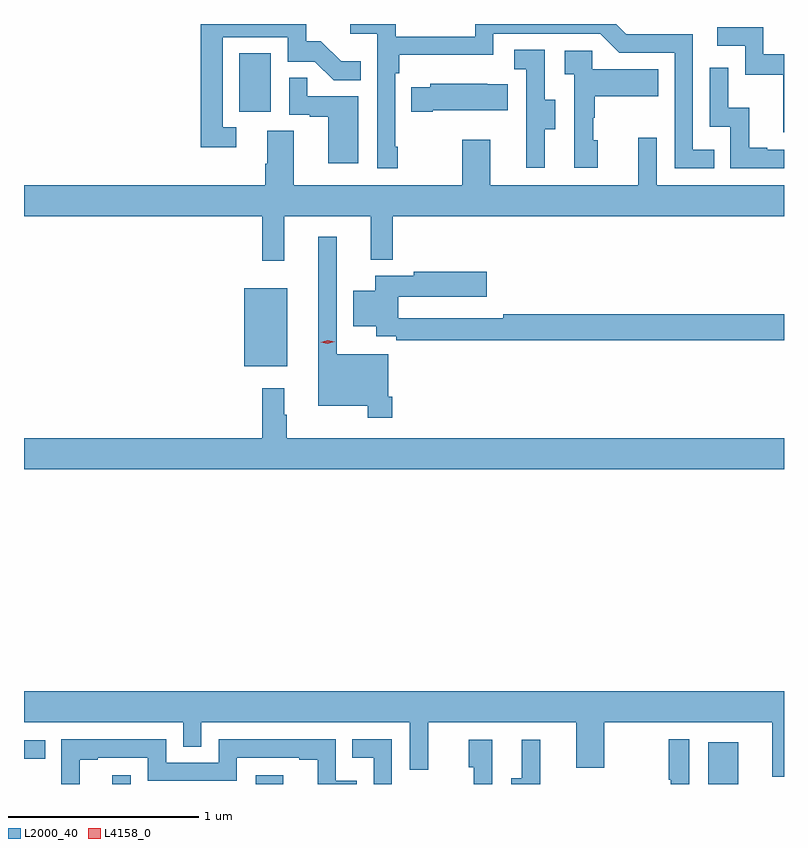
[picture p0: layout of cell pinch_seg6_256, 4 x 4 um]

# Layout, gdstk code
import gdstk
lib = gdstk.Library(unit=1e-6, precision=1e-09)
def R(c, l, rs):  # rectangles x0, y0, x1, y1
    for r in rs: c.add(gdstk.rectangle(r[:2], r[2:], *l))
def P(c, l, *ps):  # polygons
    for p in ps: c.add(gdstk.Polygon(p, *l))
L2000_40 = (2000, 40)
L4158_0 = (4158, 0)

pinch_seg6_256 = lib.new_cell('pinch_seg6_256')
R(pinch_seg6_256, L2000_40, [(1089.503,917.708,1089.6,917.755), (1090.259,917.708,1090.403,917.755), (1092.638,917.708,1092.796,917.929), (1089.038,917.84,1089.149,917.937), (1090.196,919.907,1090.423,920.317), (1090.172,921.246,1090.336,921.553)])
P(pinch_seg6_256, L2000_40, [(1090.156,921.165),(1090.083,921.165),(1090.083,921.639),(1090.425,921.639),(1090.425,921.51),(1090.569,921.51),(1090.667,921.412),(1090.811,921.412),(1090.811,921.511),(1090.707,921.511),(1090.6,921.618),(1090.524,921.618),(1090.524,921.708),(1089.967,921.708),(1089.967,921.06),(1090.156,921.06)],
  [(1091.005,921.061),(1090.992,921.061),(1090.992,921.449),(1091.012,921.449),(1091.012,921.545),(1091.508,921.545),(1091.508,921.657),(1092.072,921.657),(1092.171,921.558),(1092.462,921.558),(1092.462,920.949),(1092.671,920.949),(1092.671,921.045),(1092.558,921.045),(1092.558,921.654),(1092.208,921.654),(1092.154,921.708),(1091.412,921.708),(1091.412,921.642),(1090.994,921.642),(1090.994,921.708),(1090.755,921.708),(1090.755,921.656),(1090.896,921.656),(1090.896,920.949),(1091.005,920.949)],
  [(1093.038,921.549),(1092.93,921.549),(1092.93,921.69),(1092.687,921.69),(1092.687,921.594),(1092.834,921.594),(1092.834,921.441),(1093.033,921.441),(1093.033,921.138),(1093.038,921.138)],
  [(1091.779,921.154),(1091.833,921.154),(1091.833,921.309),(1091.778,921.309),(1091.778,921.572),(1091.619,921.572),(1091.619,921.469),(1091.682,921.469),(1091.682,921.165),(1091.681,921.165),(1091.681,920.952),(1091.779,920.952)],
  [(1092.058,921.096),(1092.033,921.096),(1092.033,921.215),(1092.043,921.215),(1092.043,921.329),(1092.377,921.329),(1092.377,921.469),(1092.03,921.469),(1092.03,921.567),(1091.883,921.567),(1091.883,921.443),(1091.934,921.443),(1091.934,920.952),(1092.058,920.952)],
  [(1093.038,921.045),(1092.949,921.045),(1092.949,921.058),(1092.854,921.058),(1092.854,921.266),(1092.744,921.266),(1092.744,921.478),(1092.648,921.478),(1092.648,921.168),(1092.756,921.168),(1092.756,920.949),(1093.038,920.949)],
  [(1090.798,921.327),(1090.529,921.327),(1090.529,921.425),(1090.434,921.425),(1090.434,921.231),(1090.541,921.231),(1090.541,921.219),(1090.64,921.219),(1090.64,920.976),(1090.798,920.976)],
  [(1091.188,921.254),(1091.585,921.254),(1091.585,921.391),(1091.477,921.391),(1091.477,921.394),(1091.175,921.394),(1091.175,921.376),(1091.077,921.376),(1091.077,921.247),(1091.188,921.247)],
  [(1089.038,920.696),(1090.291,920.696),(1090.291,920.463),(1090.409,920.463),(1090.409,920.696),(1090.862,920.696),(1090.862,920.468),(1090.979,920.468),(1090.979,920.696),(1093.038,920.696),(1093.038,920.86),(1092.369,920.86),(1092.369,921.109),(1092.272,921.109),(1092.272,920.86),(1091.491,920.86),(1091.491,921.1),(1091.344,921.1),(1091.344,920.86),(1090.459,920.86),(1090.459,921.146),(1090.319,921.146),(1090.319,920.972),(1090.307,920.972),(1090.307,920.86),(1089.038,920.86)],
  [(1090.976,919.747),(1090.956,919.747),(1090.956,919.969),(1090.683,919.969),(1090.683,920.587),(1090.586,920.587),(1090.586,919.7),(1090.848,919.7),(1090.848,919.635),(1090.976,919.635)],
  [(1093.038,920.18),(1091.56,920.18),(1091.56,920.16),(1091.008,920.16),(1091.008,920.273),(1091.473,920.273),(1091.473,920.403),(1091.088,920.403),(1091.088,920.383),(1090.886,920.383),(1090.886,920.305),(1090.772,920.305),(1090.772,920.117),(1090.892,920.117),(1090.892,920.064),(1090.996,920.064),(1090.996,920.044),(1093.038,920.044)],
  [(1093.038,919.528),(1090.42,919.528),(1090.42,919.652),(1090.408,919.652),(1090.408,919.792),(1090.291,919.792),(1090.291,919.528),(1089.038,919.528),(1089.038,919.364),(1093.038,919.364)],
  [(1093.038,918.196),(1089.038,918.196),(1089.038,918.032),(1089.876,918.032),(1089.876,917.905),(1089.972,917.905),(1089.972,918.032),(1091.067,918.032),(1091.067,917.784),(1091.165,917.784),(1091.165,918.032),(1091.945,918.032),(1091.945,917.793),(1092.093,917.793),(1092.093,918.032),(1092.977,918.032),(1092.977,917.746),(1093.038,917.746)],
  [(1092.54,917.944),(1092.432,917.944),(1092.432,917.731),(1092.443,917.731),(1092.443,917.708),(1092.54,917.708)],
  [(1090.974,917.943),(1090.765,917.943),(1090.765,917.847),(1090.878,917.847),(1090.878,917.708),(1090.974,917.708)],
  [(1089.331,917.835),(1089.427,917.835),(1089.427,917.847),(1089.69,917.847),(1089.69,917.724),(1090.158,917.724),(1090.158,917.847),(1090.487,917.847),(1090.487,917.835),(1090.583,917.835),(1090.583,917.708),(1090.788,917.708),(1090.788,917.724),(1090.68,917.724),(1090.68,917.943),(1090.062,917.943),(1090.062,917.82),(1089.786,917.82),(1089.786,917.943),(1089.234,917.943),(1089.234,917.708),(1089.331,917.708)],
  [(1091.502,917.941),(1091.378,917.941),(1091.378,917.796),(1091.404,917.796),(1091.404,917.708),(1091.502,917.708)],
  [(1091.754,917.727),(1091.756,917.727),(1091.756,917.941),(1091.657,917.941),(1091.657,917.739),(1091.603,917.739),(1091.603,917.708),(1091.754,917.708)])
P(pinch_seg6_256, L4158_0, [(1090.637,920.024),(1090.601,920.033),(1090.601,920.033),(1090.601,920.033),(1090.636,920.044),(1090.672,920.036),(1090.673,920.036),(1090.672,920.035)])

lib.write_gds('pinch_seg6_256.gds')
